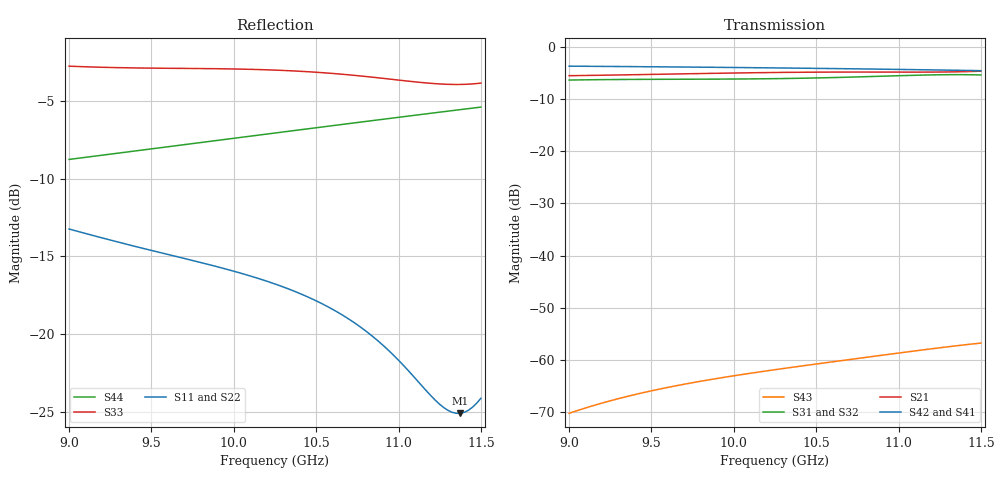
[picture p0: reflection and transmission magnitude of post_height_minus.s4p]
! Generated from PyAEDT SolutionData; AEDT ExportNetworkData workaround
# GHz S MA R 50
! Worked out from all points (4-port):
!   101 points, 9 GHz to 11.5 GHz, reference 50 ohm
!   strongest paths, dB at 9 GHz, 9.625 GHz, 10.25 GHz, 10.88 GHz, 11.5 GHz:
!     S42: -3.6, -3.8, -4.0, -4.2, -4.5
!     S41: -3.6, -3.8, -4.0, -4.2, -4.5
!     S21: -5.5, -5.1, -4.8, -4.8, -4.6
!     S31: -6.3, -6.1, -6.0, -5.6, -5.3
!     S32: -6.3, -6.2, -6.0, -5.6, -5.3
!     S43: -70.3, -65.2, -61.9, -59.3, -56.8
!   lowest |S11| = -25.1 dB at 11.38 GHz (marker M1), VSWR 1.12, Z = 54.4 - j3.78 ohm
!   |S11| at or under -10 dB: start of sweep to end of sweep
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9  0.218 157.8  0.5336 -171.1  0.4844 -73.7  0.6581 45.9
   0.5336 -171.1  0.2176 157.6  0.4841 -73.6  0.6585 -134.0
   0.4844 -73.7  0.4841 -73.6  0.7287 -147.4  0.0003051 -117.2
   0.6581 45.9  0.6585 -134.0  0.0003051 -117.2  0.3651 -115.0
9.55  0.1832 100.9  0.5506 128.6  0.4925 -165.6  0.6486 -16.4
      0.5506 128.6  0.1832 100.6  0.4921 -165.5  0.6489 163.6
      0.4925 -165.6  0.4921 -165.5  0.7178 87.2  0.0005217 132.4
      0.6486 -16.4  0.6489 163.6  0.0005217 132.4  0.3979 -173.8
10.175  0.1496 38.0  0.5708 62.4  0.4981 93.9  0.6353 -84.1
        0.5708 62.4  0.1504 37.8  0.4978 94.1  0.6354 96.0
        0.4981 93.9  0.4978 94.1  0.71 -49.4  0.0007697 5.6
        0.6353 -84.1  0.6354 96.0  0.0007697 5.6  0.4389 121.3
10.775  0.1048 -20.7  0.5781 1.3  0.5204 -2.0  0.6196 -146.9
        0.5781 1.3  0.1065 -20.7  0.5201 -1.8  0.6196 33.2
        0.5204 -2.0  0.5201 -1.8  0.6772 178.3  0.001038 -115.1
        0.6196 -146.9  0.6196 33.2  0.001038 -115.1  0.4818 60.2
11.1  0.07223 -43.3  0.5774 -29.9  0.5383 -56.1  0.6096 179.6
      0.5774 -29.9  0.07404 -43.4  0.5379 -55.9  0.6098 -0.3
      0.5383 -56.1  0.5379 -55.9  0.6487 99.4  0.001213 178.5
      0.6096 179.6  0.6098 -0.3  0.001213 178.5  0.5065 27.3
11.375  0.05562 -38.5  0.582 -54.8  0.5457 -104.6  0.6003 151.4
        0.582 -54.8  0.05696 -39.5  0.5452 -104.4  0.6007 -28.4
        0.5457 -104.6  0.5452 -104.4  0.6364 24.5  0.001372 120.9
        0.6003 151.4  0.6007 -28.4  0.001372 120.9  0.5281 -0.5
11.5  0.06216 -32.2  0.5895 -65.7  0.542 -127.6  0.5958 138.7
      0.5895 -65.7  0.06302 -33.3  0.5413 -127.4  0.5963 -41.2
      0.542 -127.6  0.5413 -127.4  0.6428 -12.3  0.001441 94.0
      0.5958 138.7  0.5963 -41.2  0.001441 94.0  0.538 -13.1
